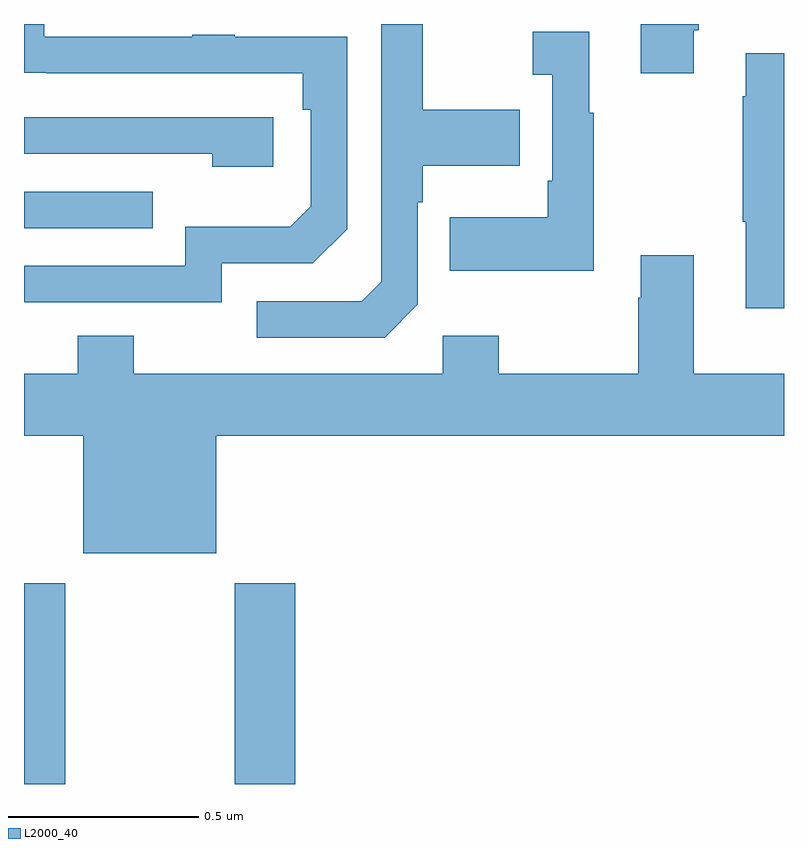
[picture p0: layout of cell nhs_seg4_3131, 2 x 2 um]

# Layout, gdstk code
import gdstk
lib = gdstk.Library(unit=1e-6, precision=1e-09)
def R(c, l, rs):  # rectangles x0, y0, x1, y1
    for r in rs: c.add(gdstk.rectangle(r[:2], r[2:], *l))
def P(c, l, *ps):  # polygons
    for p in ps: c.add(gdstk.Polygon(p, *l))
L2000_40 = (2000, 40)

nhs_seg4_3131 = lib.new_cell('nhs_seg4_3131')
R(nhs_seg4_3131, L2000_40, [(149,799.9,149.109,800.428), (149.554,799.9,149.714,800.428), (149,801.363,149.339,801.459)])
P(nhs_seg4_3131, L2000_40, [(150.763,801.883),(150.776,801.883),(150.776,801.9),(150.623,801.9),(150.623,801.771),(150.763,801.771)],
  [(149.52,801.27),(149.76,801.27),(149.85,801.36),(149.85,801.867),(149.555,801.867),(149.555,801.872),(149.443,801.872),(149.443,801.867),(149.053,801.867),(149.053,801.9),(149,801.9),(149,801.772),(149.059,801.772),(149.059,801.771),(149.734,801.771),(149.734,801.674),(149.754,801.674),(149.754,801.42),(149.701,801.367),(149.424,801.367),(149.424,801.264),(149,801.264),(149,801.168),(149.52,801.168)],
  [(150.036,801.162),(150.036,801.431),(150.049,801.431),(150.049,801.527),(150.305,801.527),(150.305,801.675),(150.049,801.675),(150.049,801.9),(149.94,801.9),(149.94,801.222),(149.889,801.171),(149.613,801.171),(149.613,801.075),(149.949,801.075)],
  [(150.499,801.667),(150.487,801.667),(150.487,801.88),(150.339,801.88),(150.339,801.767),(150.39,801.767),(150.39,801.487),(150.378,801.487),(150.378,801.391),(150.121,801.391),(150.121,801.251),(150.499,801.251)],
  [(151,801.823),(150.899,801.823),(150.899,801.71),(150.892,801.71),(150.892,801.379),(150.899,801.379),(150.899,801.152),(151,801.152)],
  [(149.656,801.654),(149,801.654),(149,801.558),(149.495,801.558),(149.495,801.524),(149.656,801.524)],
  [(149.289,801.079),(149.141,801.079),(149.141,800.98),(149,800.98),(149,800.816),(149.156,800.816),(149.156,800.507),(149.506,800.507),(149.506,800.816),(151,800.816),(151,800.98),(150.763,800.98),(150.763,801.292),(150.623,801.292),(150.623,801.179),(150.616,801.179),(150.616,800.98),(150.249,800.98),(150.249,801.079),(150.102,801.079),(150.102,800.98),(149.289,800.98)])

lib.write_gds('nhs_seg4_3131.gds')
